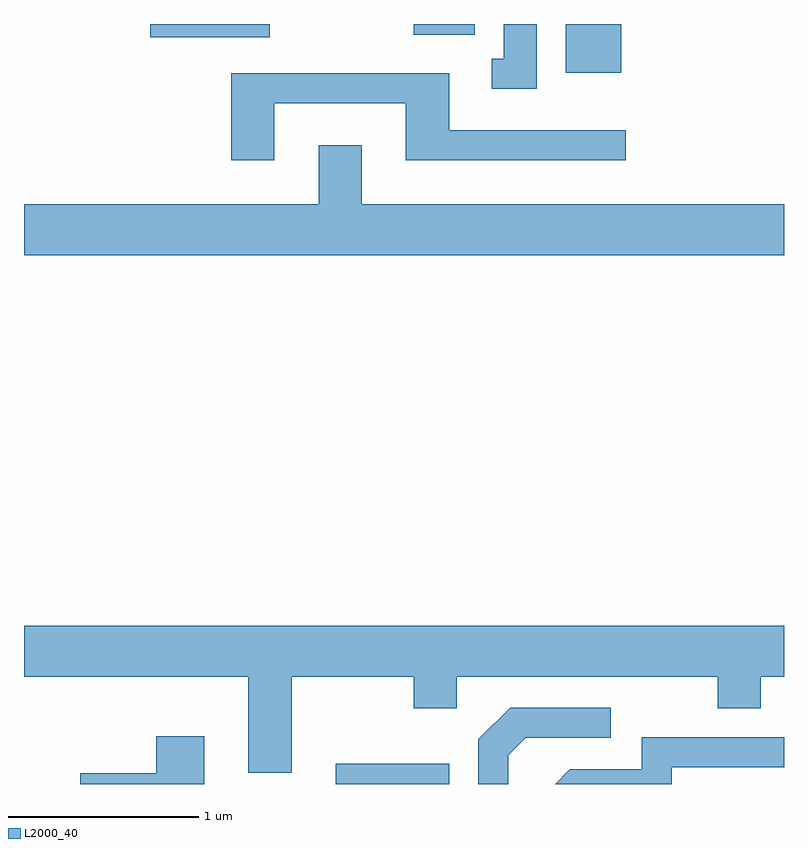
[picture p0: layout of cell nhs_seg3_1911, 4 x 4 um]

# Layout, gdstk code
import gdstk
lib = gdstk.Library(unit=1e-6, precision=1e-09)
def R(c, l, rs):  # rectangles x0, y0, x1, y1
    for r in rs: c.add(gdstk.rectangle(r[:2], r[2:], *l))
def P(c, l, *ps):  # polygons
    for p in ps: c.add(gdstk.Polygon(p, *l))
L2000_40 = (2000, 40)

nhs_seg3_1911 = lib.new_cell('nhs_seg3_1911')
R(nhs_seg3_1911, L2000_40, [(243.251,1129.892,243.849,1129.999), (244.461,1133.636,244.754,1133.892), (242.276,1133.821,242.904,1133.892), (243.661,1133.836,243.984,1133.892)])
P(nhs_seg3_1911, L2000_40, [(244.309,1133.892),(244.136,1133.892),(244.136,1133.709),(244.073,1133.709),(244.073,1133.551),(244.309,1133.551)],
  [(242.929,1133.476),(243.621,1133.476),(243.621,1133.176),(244.778,1133.176),(244.778,1133.334),(243.849,1133.334),(243.849,1133.634),(242.701,1133.634),(242.701,1133.176),(242.929,1133.176)],
  [(245.611,1132.944),(243.389,1132.944),(243.389,1133.254),(243.161,1133.254),(243.161,1132.944),(241.611,1132.944),(241.611,1132.676),(245.611,1132.676)],
  [(243.019,1130.456),(243.661,1130.456),(243.661,1130.291),(243.889,1130.291),(243.889,1130.456),(245.261,1130.456),(245.261,1130.291),(245.489,1130.291),(245.489,1130.456),(245.611,1130.456),(245.611,1130.724),(241.611,1130.724),(241.611,1130.456),(242.791,1130.456),(242.791,1129.951),(243.019,1129.951)],
  [(244.159,1130.044),(244.252,1130.136),(244.698,1130.136),(244.698,1130.294),(244.169,1130.294),(244.001,1130.127),(244.001,1129.892),(244.159,1129.892)],
  [(242.559,1130.144),(242.306,1130.144),(242.306,1129.949),(241.906,1129.949),(241.906,1129.892),(242.559,1129.892)],
  [(245.019,1129.981),(245.611,1129.981),(245.611,1130.139),(244.861,1130.139),(244.861,1129.969),(244.484,1129.969),(244.407,1129.892),(245.019,1129.892)])

lib.write_gds('nhs_seg3_1911.gds')
